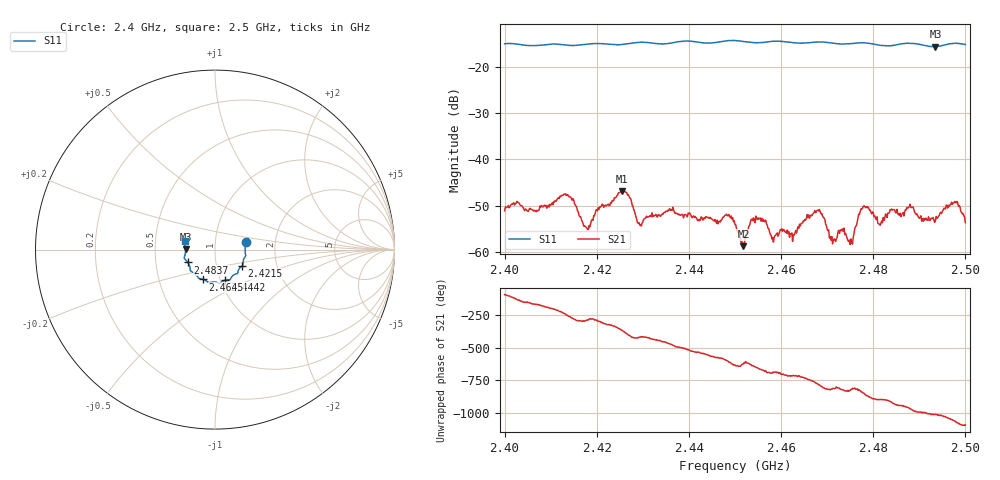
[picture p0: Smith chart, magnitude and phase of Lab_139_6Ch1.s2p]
# Hz S RI R 50
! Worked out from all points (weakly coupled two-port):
!   601 points, 2.4 GHz to 2.5 GHz, reference 50 ohm
!   highest |S21| = -46.79 dB at 2.4255 GHz (marker M1); lowest = -58.7 dB at 2.4518 GHz (marker M2)
!   lowest |S11| = -15.7 dB at 2.4935 GHz (marker M3), VSWR 1.39, Z = 35.9 + j0.278 ohm
!   |S11| at or under -10 dB: start of sweep to end of sweep
!   S12 and S22 are empty: the file has one direction only
!   S11 on the Smith chart (normalised r, x): 2.4 GHz: 1.41, +0.12; 2.4215 GHz: 1.33, -0.25; 2.4442 GHz: 1.05, -0.37; 2.4645 GHz: 0.83, -0.29; 2.4837 GHz: 0.73, -0.11; 2.5 GHz: 0.71, +0.07
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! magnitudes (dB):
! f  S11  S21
! 2.4 GHz  -15.1  -51.0
! 2.4133 GHz  -15.4  -47.7
! 2.4167 GHz  -15.3  -52.9
! 2.4215 GHz  -15.1  -50.3
! 2.4255 GHz  -15.3  -46.8
! 2.4293 GHz  -14.8  -54.1
! 2.4333 GHz  -15.1  -51.9
! 2.4442 GHz  -15.0  -52.6
! 2.45 GHz  -14.4  -54.0
! 2.4518 GHz  -14.6  -58.7
! 2.454 GHz  -14.9  -52.6
! 2.4583 GHz  -14.5  -57.8
! 2.4645 GHz  -15.0  -53.7
! 2.4667 GHz  -14.8  -52.1
! 2.475 GHz  -15.1  -58.3
! 2.4777 GHz  -14.9  -50.5
! 2.4815 GHz  -15.4  -54.2
! 2.4833 GHz  -15.5  -51.5
! 2.4837 GHz  -15.5  -50.8
! 2.4935 GHz  -15.7  -53.1
! 2.4978 GHz  -15.0  -49.1
! 2.5 GHz  -15.3  -53.6
